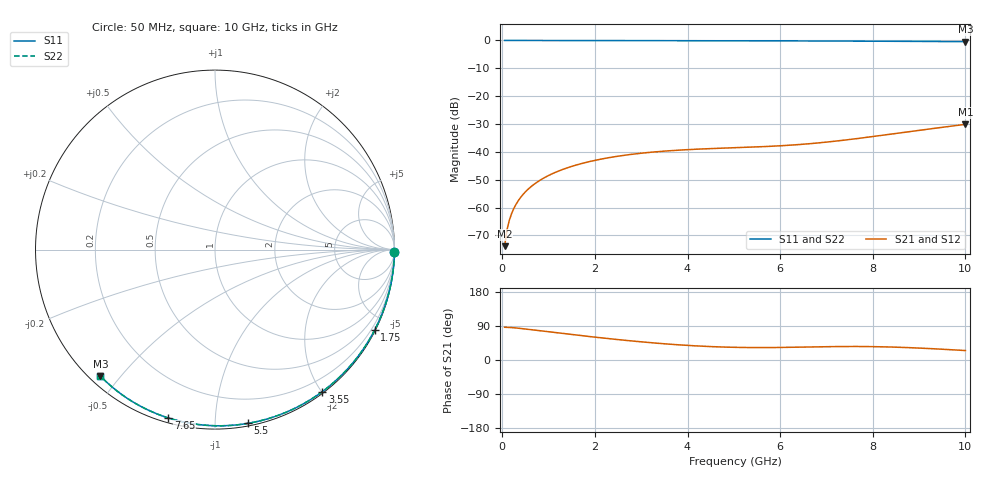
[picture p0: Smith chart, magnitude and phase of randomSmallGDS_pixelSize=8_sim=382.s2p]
! freq	dB(S11)	phase(S11)	dB(S12)	phase(S12)
!  dB(S21)	phase(S21)	dB(S22)	phase(S22)
!S-par simulation data
#  GHz  S  DB  R 50
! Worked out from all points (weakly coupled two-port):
!   200 points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, 50 MHz to 10 GHz, reference 50 ohm
!   highest |S21| = -30.13 dB at 10 GHz (marker M1); lowest = -73.9 dB at 50 MHz (marker M2)
!   lowest |S11| = -0.4 dB at 10 GHz (marker M3), VSWR 39.71, Z = 1.51 - j22.2 ohm
!   |S11| at or under -10 dB: nowhere
!   |S22| runs from -0.4 to 0.0 dB; largest |S21 - S12| = 0
!   S11 on the Smith chart (normalised r, x): 50 MHz: open; 1.75 GHz: 0.04, -4.21; 3.55 GHz: 0.02, -2.01; 5.5 GHz: 0.02, -1.21; 7.65 GHz: 0.02, -0.76; 10 GHz: 0.03, -0.44
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0.05  -0.00 -0.8  -73.87 86.4  -73.87 86.4  -0.00 -0.8
0.1  -0.00 -1.6  -68.11 86.2  -68.11 86.2  -0.00 -1.6
0.15  -0.00 -2.3  -64.68 86.0  -64.68 86.0  -0.00 -2.3
0.2  -0.00 -3.1  -62.22 85.6  -62.22 85.6  -0.00 -3.1
0.25  -0.00 -3.9  -60.30 85.1  -60.30 85.1  -0.00 -3.9
0.35  -0.00 -5.4  -57.41 83.8  -57.41 83.8  -0.00 -5.4
0.5  -0.01 -7.7  -54.35 81.8  -54.35 81.8  -0.01 -7.7
0.7  -0.01 -10.8  -51.48 78.9  -51.48 78.9  -0.01 -10.8
1  -0.02 -15.4  -48.48 74.5  -48.48 74.5  -0.02 -15.4
1.35  -0.03 -20.7  -46.04 69.4  -46.04 69.4  -0.03 -20.7
1.75  -0.03 -26.7  -44.04 63.7  -44.04 63.7  -0.03 -26.7
2.5  -0.05 -37.8  -41.56 53.8  -41.56 53.8  -0.05 -37.9
3.4  -0.07 -50.8  -39.87 43.7  -39.87 43.7  -0.07 -50.8
3.55  -0.07 -52.9  -39.68 42.3  -39.68 42.3  -0.07 -52.9
4.3  -0.09 -63.3  -38.97 36.5  -38.97 36.5  -0.09 -63.3
5.05  -0.11 -73.3  -38.50 33.3  -38.50 33.3  -0.11 -73.3
5.5  -0.13 -79.2  -38.22 32.7  -38.22 32.7  -0.13 -79.2
6.7  -0.18 -94.2  -36.98 34.6  -36.98 34.6  -0.18 -94.2
7.65  -0.24 -105.5  -35.26 35.7  -35.26 35.7  -0.24 -105.5
8.35  -0.29 -113.6  -33.73 34.4  -33.73 34.4  -0.29 -113.6
9.15  -0.35 -122.7  -31.95 30.6  -31.95 30.6  -0.35 -122.7
10  -0.44 -132.2  -30.13 24.9  -30.13 24.9  -0.44 -132.2
